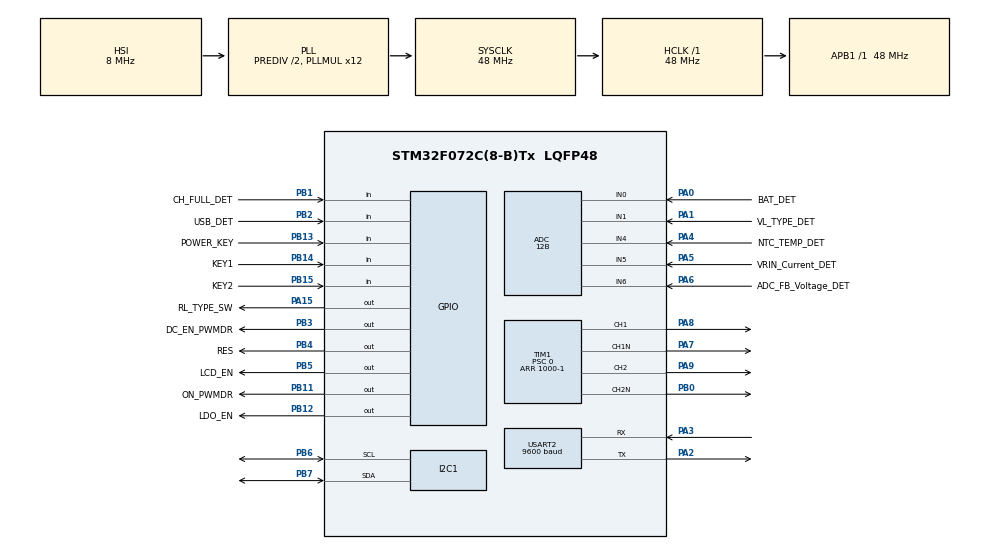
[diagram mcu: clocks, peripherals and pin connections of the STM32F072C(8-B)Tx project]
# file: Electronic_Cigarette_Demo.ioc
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ADC.ClockPrescaler=ADC_CLOCK_ASYNC_DIV1
ADC.ContinuousConvMode=ENABLE
ADC.DMAContinuousRequests=ENABLE
ADC.DataAlign=ADC_DATAALIGN_RIGHT
ADC.DiscontinuousConvMode=DISABLE
ADC.EOCSelection=ADC_EOC_SINGLE_CONV
ADC.EnableAnalogWatchDog=false
ADC.ExternalTrigConv=ADC_SOFTWARE_START
ADC.ExternalTrigConvEdge=ADC_EXTERNALTRIGCONVEDGE_NONE
ADC.LowPowerAutoPowerOff=DISABLE
ADC.LowPowerAutoWait=DISABLE
ADC.Overrun=ADC_OVR_DATA_PRESERVED
ADC.Resolution=ADC_RESOLUTION_12B
ADC.SamplingTime=ADC_SAMPLETIME_13CYCLES_5
ADC.ScanConvMode=ADC_SCAN_DIRECTION_FORWARD
Dma.ADC.0.Direction=DMA_PERIPH_TO_MEMORY
Dma.ADC.0.Instance=DMA1_Channel1
Dma.ADC.0.MemDataAlignment=DMA_MDATAALIGN_HALFWORD
Dma.ADC.0.MemInc=DMA_MINC_ENABLE
Dma.ADC.0.Mode=DMA_CIRCULAR
Dma.ADC.0.PeriphDataAlignment=DMA_PDATAALIGN_HALFWORD
Dma.ADC.0.PeriphInc=DMA_PINC_DISABLE
Dma.ADC.0.Priority=DMA_PRIORITY_LOW
Dma.Request0=ADC
I2C1.Speed=100
Mcu.Family=STM32F0
Mcu.Name=STM32F072C(8-B)Tx
Mcu.Package=LQFP48
NVIC.DMA1_Channel1_IRQn=true\:0\:0\:false\:false\:true
NVIC.TIM6_DAC_IRQn=true\:2\:0\:true\:false\:true
NVIC.USART2_IRQn=true\:3\:0\:true\:false\:true
PA0.GPIO_Label=BAT_DET
PA0.Mode=IN0
PA0.Signal=ADC_IN0
PA1.GPIO_Label=VL_TYPE_DET
PA1.Mode=IN1
PA1.Signal=ADC_IN1
PA13.Mode=Serial_Wire
PA13.Signal=SYS_SWDIO
PA14.Mode=Serial_Wire
PA14.Signal=SYS_SWCLK
PA15.GPIO_Label=RL_TYPE_SW
PA15.Signal=GPIO_Output
PA2.Mode=Asynchronous
PA2.Signal=USART2_TX
PA3.Mode=Asynchronous
PA3.Signal=USART2_RX
PA4.GPIO_Label=NTC_TEMP_DET
PA4.Mode=IN4
PA4.Signal=ADC_IN4
PA5.GPIO_Label=VRIN_Current_DET
PA5.Mode=IN5
PA5.Signal=ADC_IN5
PA6.GPIO_Label=ADC_FB_Voltage_DET
PA6.Mode=IN6
PA6.Signal=ADC_IN6
PA7.Mode=PWM Generation1 CH1 CH1N
PA7.Signal=TIM1_CH1N
PA8.Signal=S_TIM1_CH1
PA9.Signal=S_TIM1_CH2
PB0.Mode=PWM Generation2 CH2 CH2N
PB0.Signal=TIM1_CH2N
PB1.GPIO_Label=CH_FULL_DET
PB1.Signal=GPIO_Input
PB11.GPIO_Label=ON_PWMDR
PB11.Signal=GPIO_Output
PB12.GPIO_Label=LDO_EN
PB12.Signal=GPIO_Output
PB13.GPIO_Label=POWER_KEY
PB13.Signal=GPIO_Input
PB14.GPIO_Label=KEY1
PB14.GPIO_PuPd=GPIO_PULLDOWN
PB14.Signal=GPIO_Input
PB15.GPIO_Label=KEY2
PB15.GPIO_PuPd=GPIO_PULLDOWN
PB15.Signal=GPIO_Input
PB2.GPIO_Label=USB_DET
PB2.Signal=GPIO_Input
PB3.GPIO_Label=DC_EN_PWMDR
PB3.Signal=GPIO_Output
PB4.GPIO_Label=RES
PB4.Signal=GPIO_Output
PB5.GPIO_Label=LCD_EN
PB5.Signal=GPIO_Output
PB6.Mode=I2C
PB6.Signal=I2C1_SCL
PB7.Mode=I2C
PB7.Signal=I2C1_SDA
ProjectManager.HeapSize=0x200
ProjectManager.StackSize=0x400
ProjectManager.TargetToolchain=MDK-ARM V5
RCC.AHBFreq_Value=48000000
RCC.APB1Freq_Value=48000000
RCC.APB1TimFreq_Value=48000000
RCC.HCLKFreq_Value=48000000
RCC.PLLDivider=RCC_PREDIV_DIV2
RCC.PLLMUL=RCC_PLL_MUL12
RCC.SYSCLKFreq_VALUE=48000000
RCC.SYSCLKSource=RCC_SYSCLKSOURCE_PLLCLK
SH.S_TIM1_CH1.0=TIM1_CH1,PWM Generation1 CH1 CH1N
SH.S_TIM1_CH2.0=TIM1_CH2,PWM Generation2 CH2 CH2N
TIM1.Channel-PWM\ Generation1\ CH1\ CH1N=TIM_CHANNEL_1
TIM1.Channel-PWM\ Generation2\ CH2\ CH2N=TIM_CHANNEL_2
TIM1.DeadTime=10
TIM1.LockLevel=TIM_LOCKLEVEL_3
TIM1.OCMode_PWM-PWM\ Generation2\ CH2\ CH2N=TIM_OCMODE_PWM1
TIM1.OCNIdleState_2=TIM_OCNIDLESTATE_RESET
TIM1.OCNPolarity_2=TIM_OCNPOLARITY_HIGH
TIM1.OCPolarity_2=TIM_OCPOLARITY_HIGH
TIM1.Period=1000-1
TIM1.Prescaler=0
TIM6.Period=4800-1
TIM6.Prescaler=0
USART2.BaudRate=9600
USART2.VirtualMode-Asynchronous=VM_ASYNC
USART2.WordLength=WORDLENGTH_8B
VP_TIM1_VS_ClockSourceINT.Mode=Internal
VP_TIM6_VS_ClockSourceINT.Mode=Enable_Timer
board=Electronic_Cigarette_Demo

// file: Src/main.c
/**
  ******************************************************************************
  * File Name          : main.c
  * Description        : Main program body
  ******************************************************************************
  ** This notice applies to any and all portions of this file
  * that are not between comment pairs USER CODE BEGIN and
  * USER CODE END. Other portions of this file, whether
  * inserted by the user or by software development tools
  * are owned by their respective copyright owners.
  *
  * COPYRIGHT(c) 2017 STMicroelectronics
  *
  * Redistribution and use in source and binary forms, with or without modification,
  * are permitted provided that the following conditions are met:
  *   1. Redistributions of source code must retain the above copyright notice,
  *      this list of conditions and the following disclaimer.
  *   2. Redistributions in binary form must reproduce the above copyright notice,
  *      this list of conditions and the following disclaimer in the documentation
  *      and/or other materials provided with the distribution.
  *   3. Neither the name of STMicroelectronics nor the names of its contributors
  *      may be used to endorse or promote products derived from this software
  *      without specific prior written permission.
  *
  * THIS SOFTWARE IS PROVIDED BY THE COPYRIGHT HOLDERS AND CONTRIBUTORS "AS IS"
  * AND ANY EXPRESS OR IMPLIED WARRANTIES, INCLUDING, BUT NOT LIMITED TO, THE
  * IMPLIED WARRANTIES OF MERCHANTABILITY AND FITNESS FOR A PARTICULAR PURPOSE ARE
  * DISCLAIMED. IN NO EVENT SHALL THE COPYRIGHT HOLDER OR CONTRIBUTORS BE LIABLE
  * FOR ANY DIRECT, INDIRECT, INCIDENTAL, SPECIAL, EXEMPLARY, OR CONSEQUENTIAL
  * DAMAGES (INCLUDING, BUT NOT LIMITED TO, PROCUREMENT OF SUBSTITUTE GOODS OR
  * SERVICES; LOSS OF USE, DATA, OR PROFITS; OR BUSINESS INTERRUPTION) HOWEVER
  * CAUSED AND ON ANY THEORY OF LIABILITY, WHETHER IN CONTRACT, STRICT LIABILITY,
  * OR TORT (INCLUDING NEGLIGENCE OR OTHERWISE) ARISING IN ANY WAY OUT OF THE USE
  * OF THIS SOFTWARE, EVEN IF ADVISED OF THE POSSIBILITY OF SUCH DAMAGE.
  *
  ******************************************************************************
  */
#include "main.h"
#include "stm32f0xx_hal.h"

/* USER CODE BEGIN Includes */
#include "SysTickTaskManager.h"
#include "message.h"
#include "User.h"

/* USER CODE END Includes */

ADC_HandleTypeDef hadc;
DMA_HandleTypeDef hdma_adc;

I2C_HandleTypeDef hi2c1;

TIM_HandleTypeDef htim1;
TIM_HandleTypeDef htim6;

UART_HandleTypeDef huart2;

/* USER CODE BEGIN PV */
/* Private variables ---------------------------------------------------------*/
uint16_t ADC_ValueTab[ADCCN_MAX*ADCSAMPLE_NUM];
extern uint8_t ITRXBuff[1];

/* USER CODE END PV */

void SystemClock_Config(void);
static void MX_GPIO_Init(void);
static void MX_DMA_Init(void);
static void MX_TIM1_Init(void);
static void MX_USART2_UART_Init(void);
static void MX_I2C1_Init(void);
static void MX_ADC_Init(void);
static void MX_TIM6_Init(void);

void HAL_TIM_MspPostInit(TIM_HandleTypeDef *htim);

/* USER CODE BEGIN PFP */
/* Private function prototypes -----------------------------------------------*/

/* USER CODE END PFP */

/* USER CODE BEGIN 0 */

int fputc(int ch, FILE *f)
{

	HAL_UART_Transmit(&huart2,(uint8_t *)&ch,1,1000);

	return ch;
}

/* USER CODE END 0 */

int main(void)
{

  /* USER CODE BEGIN 1 */
  MESSAGE Message;

  /* USER CODE END 1 */

  /* MCU Configuration----------------------------------------------------------*/

  /* Reset of all peripherals, Initializes the Flash interface and the Systick. */
  HAL_Init();

  /* Configure the system clock */
  SystemClock_Config();

  /* Initialize all configured peripherals */
  MX_GPIO_Init();
  MX_DMA_Init();
  MX_TIM1_Init();
  MX_USART2_UART_Init();
  MX_I2C1_Init();
  MX_ADC_Init();
  MX_TIM6_Init();

  /* USER CODE BEGIN 2 */

  HAL_ADCEx_Calibration_Start(&hadc);
  HAL_ADC_Start_DMA(&hadc, (uint32_t*)ADC_ValueTab, ARRAYSIZE(ADC_ValueTab));
  HAL_UART_Receive_IT(&huart2, (uint8_t *)(ITRXBuff), 1);
  HAL_TIM_Base_Start_IT(&htim6);

  UserSystemStartPoc(0);

  /* USER CODE END 2 */

  /* Infinite loop */
  while (1)
  {

  /* USER CODE BEGIN 3 */

		SysTickTaskExecute();

	  if( GetMessage(&Message) )
	  {
		  if( !DispatchMessage(&Message) )
			  PostMessage(Message.MessageProc, Message.uMessage);
	  }

  }
  /* USER CODE END 3 */

}

/** System Clock Configuration
*/
void SystemClock_Config(void)
{

  RCC_OscInitTypeDef RCC_OscInitStruct;
  RCC_ClkInitTypeDef RCC_ClkInitStruct;
  RCC_PeriphCLKInitTypeDef PeriphClkInit;

    /**Initializes the CPU, AHB and APB busses clocks
    */
  RCC_OscInitStruct.OscillatorType = RCC_OSCILLATORTYPE_HSI|RCC_OSCILLATORTYPE_HSI14;
  RCC_OscInitStruct.HSIState = RCC_HSI_ON;
  RCC_OscInitStruct.HSI14State = RCC_HSI14_ON;
  RCC_OscInitStruct.HSICalibrationValue = 16;
  RCC_OscInitStruct.HSI14CalibrationValue = 16;
  RCC_OscInitStruct.PLL.PLLState = RCC_PLL_ON;
  RCC_OscInitStruct.PLL.PLLSource = RCC_PLLSOURCE_HSI;
  RCC_OscInitStruct.PLL.PLLMUL = RCC_PLL_MUL12;
  RCC_OscInitStruct.PLL.PREDIV = RCC_PREDIV_DIV2;
  if (HAL_RCC_OscConfig(&RCC_OscInitStruct) != HAL_OK)
  {
    _Error_Handler(__FILE__, __LINE__);
  }

    /**Initializes the CPU, AHB and APB busses clocks
    */
  RCC_ClkInitStruct.ClockType = RCC_CLOCKTYPE_HCLK|RCC_CLOCKTYPE_SYSCLK
                              |RCC_CLOCKTYPE_PCLK1;
  RCC_ClkInitStruct.SYSCLKSource = RCC_SYSCLKSOURCE_PLLCLK;
  RCC_ClkInitStruct.AHBCLKDivider = RCC_SYSCLK_DIV1;
  RCC_ClkInitStruct.APB1CLKDivider = RCC_HCLK_DIV1;

  if (HAL_RCC_ClockConfig(&RCC_ClkInitStruct, FLASH_LATENCY_1) != HAL_OK)
  {
    _Error_Handler(__FILE__, __LINE__);
  }

  PeriphClkInit.PeriphClockSelection = RCC_PERIPHCLK_USART2|RCC_PERIPHCLK_I2C1;
  PeriphClkInit.Usart2ClockSelection = RCC_USART2CLKSOURCE_PCLK1;
  PeriphClkInit.I2c1ClockSelection = RCC_I2C1CLKSOURCE_HSI;
  if (HAL_RCCEx_PeriphCLKConfig(&PeriphClkInit) != HAL_OK)
  {
    _Error_Handler(__FILE__, __LINE__);
  }

    /**Configure the Systick interrupt time
    */
  HAL_SYSTICK_Config(HAL_RCC_GetHCLKFreq()/1000);

    /**Configure the Systick
    */
  HAL_SYSTICK_CLKSourceConfig(SYSTICK_CLKSOURCE_HCLK);

  /* SysTick_IRQn interrupt configuration */
  HAL_NVIC_SetPriority(SysTick_IRQn, 0, 0);
}

/* ADC init function */
static void MX_ADC_Init(void)
{

  ADC_ChannelConfTypeDef sConfig;

    /**Configure the global features of the ADC (Clock, Resolution, Data Alignment and number of conversion)
    */
  hadc.Instance = ADC1;
  hadc.Init.ClockPrescaler = ADC_CLOCK_ASYNC_DIV1;
  hadc.Init.Resolution = ADC_RESOLUTION_12B;
  hadc.Init.DataAlign = ADC_DATAALIGN_RIGHT;
  hadc.Init.ScanConvMode = ADC_SCAN_DIRECTION_FORWARD;
  hadc.Init.EOCSelection = ADC_EOC_SINGLE_CONV;
  hadc.Init.LowPowerAutoWait = DISABLE;
  hadc.Init.LowPowerAutoPowerOff = DISABLE;
  hadc.Init.ContinuousConvMode = ENABLE;
  hadc.Init.DiscontinuousConvMode = DISABLE;
  hadc.Init.ExternalTrigConv = ADC_SOFTWARE_START;
  hadc.Init.ExternalTrigConvEdge = ADC_EXTERNALTRIGCONVEDGE_NONE;
  hadc.Init.DMAContinuousRequests = ENABLE;
  hadc.Init.Overrun = ADC_OVR_DATA_PRESERVED;
  if (HAL_ADC_Init(&hadc) != HAL_OK)
  {
    _Error_Handler(__FILE__, __LINE__);
  }

    /**Configure for the selected ADC regular channel to be converted.
    */
  sConfig.Channel = ADC_CHANNEL_0;
  sConfig.Rank = ADC_RANK_CHANNEL_NUMBER;
  sConfig.SamplingTime = ADC_SAMPLETIME_13CYCLES_5;
  if (HAL_ADC_ConfigChannel(&hadc, &sConfig) != HAL_OK)
  {
    _Error_Handler(__FILE__, __LINE__);
  }

    /**Configure for the selected ADC regular channel to be converted.
    */
  sConfig.Channel = ADC_CHANNEL_1;
  if (HAL_ADC_ConfigChannel(&hadc, &sConfig) != HAL_OK)
  {
    _Error_Handler(__FILE__, __LINE__);
  }

    /**Configure for the selected ADC regular channel to be converted.
    */
  sConfig.Channel = ADC_CHANNEL_4;
  if (HAL_ADC_ConfigChannel(&hadc, &sConfig) != HAL_OK)
  {
    _Error_Handler(__FILE__, __LINE__);
  }

    /**Configure for the selected ADC regular channel to be converted.
    */
  sConfig.Channel = ADC_CHANNEL_5;
  if (HAL_ADC_ConfigChannel(&hadc, &sConfig) != HAL_OK)
  {
    _Error_Handler(__FILE__, __LINE__);
  }

    /**Configure for the selected ADC regular channel to be converted.
    */
  sConfig.Channel = ADC_CHANNEL_6;
  if (HAL_ADC_ConfigChannel(&hadc, &sConfig) != HAL_OK)
  {
    _Error_Handler(__FILE__, __LINE__);
  }

}

/* I2C1 init function */
static void MX_I2C1_Init(void)
{

  hi2c1.Instance = I2C1;
  hi2c1.Init.Timing = 0x2000090E;
  hi2c1.Init.OwnAddress1 = 0;
  hi2c1.Init.AddressingMode = I2C_ADDRESSINGMODE_7BIT;
  hi2c1.Init.DualAddressMode = I2C_DUALADDRESS_DISABLE;
  hi2c1.Init.OwnAddress2 = 0;
  hi2c1.Init.OwnAddress2Masks = I2C_OA2_NOMASK;
  hi2c1.Init.GeneralCallMode = I2C_GENERALCALL_DISABLE;
  hi2c1.Init.NoStretchMode = I2C_NOSTRETCH_DISABLE;
  if (HAL_I2C_Init(&hi2c1) != HAL_OK)
  {
    _Error_Handler(__FILE__, __LINE__);
  }

    /**Configure Analogue filter
    */
  if (HAL_I2CEx_ConfigAnalogFilter(&hi2c1, I2C_ANALOGFILTER_ENABLE) != HAL_OK)
  {
    _Error_Handler(__FILE__, __LINE__);
  }

    /**Configure Digital filter
    */
  if (HAL_I2CEx_ConfigDigitalFilter(&hi2c1, 0) != HAL_OK)
  {
    _Error_Handler(__FILE__, __LINE__);
  }

}

/* TIM1 init function */
static void MX_TIM1_Init(void)
{

  TIM_ClockConfigTypeDef sClockSourceConfig;
  TIM_MasterConfigTypeDef sMasterConfig;
  TIM_OC_InitTypeDef sConfigOC;
  TIM_BreakDeadTimeConfigTypeDef sBreakDeadTimeConfig;

  htim1.Instance = TIM1;
  htim1.Init.Prescaler = 0;
  htim1.Init.CounterMode = TIM_COUNTERMODE_UP;
  htim1.Init.Period = 1000-1;
  htim1.Init.ClockDivision = TIM_CLOCKDIVISION_DIV1;
  htim1.Init.RepetitionCounter = 0;
  htim1.Init.AutoReloadPreload = TIM_AUTORELOAD_PRELOAD_DISABLE;
  if (HAL_TIM_Base_Init(&htim1) != HAL_OK)
  {
    _Error_Handler(__FILE__, __LINE__);
  }

  sClockSourceConfig.ClockSource = TIM_CLOCKSOURCE_INTERNAL;
  if (HAL_TIM_ConfigClockSource(&htim1, &sClockSourceConfig) != HAL_OK)
  {
    _Error_Handler(__FILE__, __LINE__);
  }

  if (HAL_TIM_PWM_Init(&htim1) != HAL_OK)
  {
    _Error_Handler(__FILE__, __LINE__);
  }

  sMasterConfig.MasterOutputTrigger = TIM_TRGO_RESET;
  sMasterConfig.MasterSlaveMode = TIM_MASTERSLAVEMODE_DISABLE;
  if (HAL_TIMEx_MasterConfigSynchronization(&htim1, &sMasterConfig) != HAL_OK)
  {
    _Error_Handler(__FILE__, __LINE__);
  }

  sConfigOC.OCMode = TIM_OCMODE_PWM1;
  sConfigOC.Pulse = 0;
  sConfigOC.OCPolarity = TIM_OCPOLARITY_HIGH;
  sConfigOC.OCNPolarity = TIM_OCNPOLARITY_HIGH;
  sConfigOC.OCFastMode = TIM_OCFAST_DISABLE;
  sConfigOC.OCIdleState = TIM_OCIDLESTATE_RESET;
  sConfigOC.OCNIdleState = TIM_OCNIDLESTATE_RESET;
  if (HAL_TIM_PWM_ConfigChannel(&htim1, &sConfigOC, TIM_CHANNEL_1) != HAL_OK)
  {
    _Error_Handler(__FILE__, __LINE__);
  }

  if (HAL_TIM_PWM_ConfigChannel(&htim1, &sConfigOC, TIM_CHANNEL_2) != HAL_OK)
  {
    _Error_Handler(__FILE__, __LINE__);
  }

  sBreakDeadTimeConfig.OffStateRunMode = TIM_OSSR_DISABLE;
  sBreakDeadTimeConfig.OffStateIDLEMode = TIM_OSSI_DISABLE;
  sBreakDeadTimeConfig.LockLevel = TIM_LOCKLEVEL_3;
  sBreakDeadTimeConfig.DeadTime = 10;
  sBreakDeadTimeConfig.BreakState = TIM_BREAK_DISABLE;
  sBreakDeadTimeConfig.BreakPolarity = TIM_BREAKPOLARITY_HIGH;
  sBreakDeadTimeConfig.AutomaticOutput = TIM_AUTOMATICOUTPUT_DISABLE;
  if (HAL_TIMEx_ConfigBreakDeadTime(&htim1, &sBreakDeadTimeConfig) != HAL_OK)
  {
    _Error_Handler(__FILE__, __LINE__);
  }

  HAL_TIM_MspPostInit(&htim1);

}

/* TIM6 init function */
static void MX_TIM6_Init(void)
{

  TIM_MasterConfigTypeDef sMasterConfig;

  htim6.Instance = TIM6;
  htim6.Init.Prescaler = 0;
  htim6.Init.CounterMode = TIM_COUNTERMODE_UP;
  htim6.Init.Period = 4800-1;
  htim6.Init.AutoReloadPreload = TIM_AUTORELOAD_PRELOAD_DISABLE;
  if (HAL_TIM_Base_Init(&htim6) != HAL_OK)
  {
    _Error_Handler(__FILE__, __LINE__);
  }

  sMasterConfig.MasterOutputTrigger = TIM_TRGO_RESET;
  sMasterConfig.MasterSlaveMode = TIM_MASTERSLAVEMODE_DISABLE;
  if (HAL_TIMEx_MasterConfigSynchronization(&htim6, &sMasterConfig) != HAL_OK)
  {
    _Error_Handler(__FILE__, __LINE__);
  }

}

/* USART2 init function */
static void MX_USART2_UART_Init(void)
{

  huart2.Instance = USART2;
  huart2.Init.BaudRate = 9600;
  huart2.Init.WordLength = UART_WORDLENGTH_8B;
  huart2.Init.StopBits = UART_STOPBITS_1;
  huart2.Init.Parity = UART_PARITY_NONE;
  huart2.Init.Mode = UART_MODE_TX_RX;
  huart2.Init.HwFlowCtl = UART_HWCONTROL_NONE;
  huart2.Init.OverSampling = UART_OVERSAMPLING_16;
  huart2.Init.OneBitSampling = UART_ONE_BIT_SAMPLE_DISABLE;
  huart2.AdvancedInit.AdvFeatureInit = UART_ADVFEATURE_NO_INIT;
  if (HAL_UART_Init(&huart2) != HAL_OK)
  {
    _Error_Handler(__FILE__, __LINE__);
  }

}

static void MX_DMA_Init(void)
{
  /* DMA controller clock enable */
  __HAL_RCC_DMA1_CLK_ENABLE();

  /* DMA interrupt init */
  /* DMA1_Channel1_IRQn interrupt configuration */
  HAL_NVIC_SetPriority(DMA1_Channel1_IRQn, 0, 0);
  HAL_NVIC_EnableIRQ(DMA1_Channel1_IRQn);

}

/** Configure pins as
        * Analog
        * Input
        * Output
        * EVENT_OUT
        * EXTI
*/
static void MX_GPIO_Init(void)
{

  GPIO_InitTypeDef GPIO_InitStruct;

  /* GPIO Ports Clock Enable */
  __HAL_RCC_GPIOA_CLK_ENABLE();
  __HAL_RCC_GPIOB_CLK_ENABLE();

  /*Configure GPIO pin Output Level */
  HAL_GPIO_WritePin(GPIOB, ON_PWMDR_Pin|LDO_EN_Pin|DC_EN_PWMDR_Pin|RES_Pin
                          |LCD_EN_Pin, GPIO_PIN_RESET);

  /*Configure GPIO pin Output Level */
  HAL_GPIO_WritePin(RL_TYPE_SW_GPIO_Port, RL_TYPE_SW_Pin, GPIO_PIN_RESET);

  /*Configure GPIO pins : CH_FULL_DET_Pin USB_DET_Pin POWER_KEY_Pin */
  GPIO_InitStruct.Pin = CH_FULL_DET_Pin|USB_DET_Pin|POWER_KEY_Pin;
  GPIO_InitStruct.Mode = GPIO_MODE_INPUT;
  GPIO_InitStruct.Pull = GPIO_NOPULL;
  HAL_GPIO_Init(GPIOB, &GPIO_InitStruct);

  /*Configure GPIO pins : ON_PWMDR_Pin LDO_EN_Pin DC_EN_PWMDR_Pin RES_Pin
                           LCD_EN_Pin */
  GPIO_InitStruct.Pin = ON_PWMDR_Pin|LDO_EN_Pin|DC_EN_PWMDR_Pin|RES_Pin
                          |LCD_EN_Pin;
  GPIO_InitStruct.Mode = GPIO_MODE_OUTPUT_PP;
  GPIO_InitStruct.Pull = GPIO_NOPULL;
  GPIO_InitStruct.Speed = GPIO_SPEED_FREQ_LOW;
  HAL_GPIO_Init(GPIOB, &GPIO_InitStruct);

  /*Configure GPIO pins : KEY1_Pin KEY2_Pin */
  GPIO_InitStruct.Pin = KEY1_Pin|KEY2_Pin;
  GPIO_InitStruct.Mode = GPIO_MODE_INPUT;
  GPIO_InitStruct.Pull = GPIO_PULLDOWN;
  HAL_GPIO_Init(GPIOB, &GPIO_InitStruct);

  /*Configure GPIO pin : RL_TYPE_SW_Pin */
  GPIO_InitStruct.Pin = RL_TYPE_SW_Pin;
  GPIO_InitStruct.Mode = GPIO_MODE_OUTPUT_PP;
  GPIO_InitStruct.Pull = GPIO_NOPULL;
  GPIO_InitStruct.Speed = GPIO_SPEED_FREQ_LOW;
  HAL_GPIO_Init(RL_TYPE_SW_GPIO_Port, &GPIO_InitStruct);

}

void _Error_Handler(char * file, int line)
{
  while(1)
  {
  }
}

/************************ (C) COPYRIGHT STMicroelectronics *****END OF FILE****/
